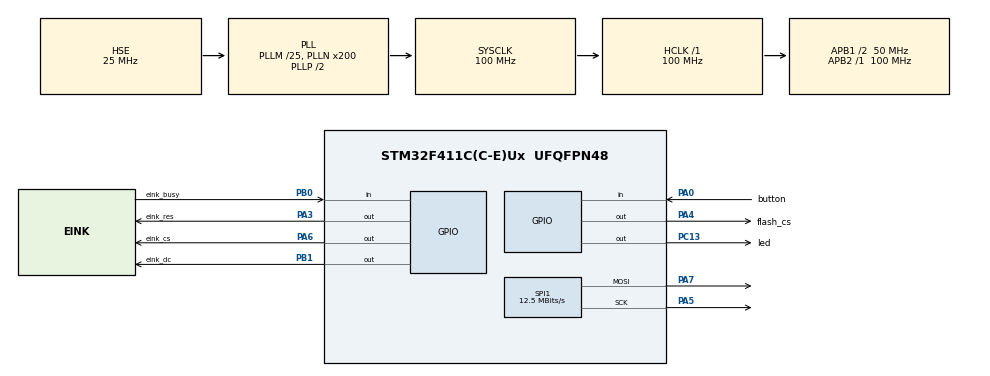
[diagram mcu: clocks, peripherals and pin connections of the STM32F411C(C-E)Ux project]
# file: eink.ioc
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Mcu.Family=STM32F4
Mcu.Name=STM32F411C(C-E)Ux
Mcu.Package=UFQFPN48
NVIC.PriorityGroup=NVIC_PRIORITYGROUP_4
PA0-WKUP.GPIO_Label=button
PA0-WKUP.Signal=GPIO_Input
PA13.Mode=Trace_Asynchronous_SW
PA13.Signal=SYS_JTMS-SWDIO
PA14.Mode=Trace_Asynchronous_SW
PA14.Signal=SYS_JTCK-SWCLK
PA3.GPIO_Label=eink_res
PA3.Signal=GPIO_Output
PA4.GPIO_Label=flash_cs
PA4.PinState=GPIO_PIN_SET
PA4.Signal=GPIO_Output
PA5.Mode=TX_Only_Simplex_Unidirect_Master
PA5.Signal=SPI1_SCK
PA6.GPIO_Label=eink_cs
PA6.PinState=GPIO_PIN_SET
PA6.Signal=GPIO_Output
PA7.Mode=TX_Only_Simplex_Unidirect_Master
PA7.Signal=SPI1_MOSI
PB0.GPIO_Label=eink_busy
PB0.Signal=GPIO_Input
PB1.GPIO_Label=eink_dc
PB1.Signal=GPIO_Output
PB3.Mode=Trace_Asynchronous_SW
PB3.Signal=SYS_JTDO-SWO
PC13-ANTI_TAMP.GPIO_Label=led
PC13-ANTI_TAMP.Signal=GPIO_Output
PH0\ -\ OSC_IN.Mode=HSE-External-Oscillator
PH0\ -\ OSC_IN.Signal=RCC_OSC_IN
PH1\ -\ OSC_OUT.Mode=HSE-External-Oscillator
PH1\ -\ OSC_OUT.Signal=RCC_OSC_OUT
ProjectManager.HeapSize=0x200
ProjectManager.StackSize=0x400
ProjectManager.TargetToolchain=STM32CubeIDE
RCC.48MHZClocksFreq_Value=50000000
RCC.AHBFreq_Value=100000000
RCC.APB1CLKDivider=RCC_HCLK_DIV2
RCC.APB1Freq_Value=50000000
RCC.APB1TimFreq_Value=100000000
RCC.APB2Freq_Value=100000000
RCC.APB2TimFreq_Value=100000000
RCC.CortexFreq_Value=100000000
RCC.HCLKFreq_Value=100000000
RCC.HSE_VALUE=25000000
RCC.HSI_VALUE=16000000
RCC.LSE_VALUE=32768
RCC.PLLM=25
RCC.PLLN=200
RCC.PLLSourceVirtual=RCC_PLLSOURCE_HSE
RCC.SYSCLKFreq_VALUE=100000000
RCC.SYSCLKSource=RCC_SYSCLKSOURCE_PLLCLK
RCC.VCOOutputFreq_Value=200000000
SPI1.BaudRatePrescaler=SPI_BAUDRATEPRESCALER_8
SPI1.CalculateBaudRate=12.5 MBits/s
SPI1.Direction=SPI_DIRECTION_2LINES
SPI1.Mode=SPI_MODE_MASTER
SPI1.VirtualType=VM_MASTER
board=custom

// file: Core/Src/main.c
/* USER CODE BEGIN Header */
/**
  ******************************************************************************
  * @file           : main.c
  * @brief          : Main program body
  ******************************************************************************
  * @attention
  *
  * Copyright (c) 2024 STMicroelectronics.
  * All rights reserved.
  *
  * This software is licensed under terms that can be found in the LICENSE file
  * in the root directory of this software component.
  * If no LICENSE file comes with this software, it is provided AS-IS.
  *
  ******************************************************************************
  */
/* USER CODE END Header */
#include "main.h"

/* USER CODE BEGIN Includes */
#include <stdio.h>
#include "epaper.h"
#include "bmp.h"
#include "epaper_wrap.h"
/* USER CODE END Includes */

SPI_HandleTypeDef hspi1;

/* USER CODE BEGIN PV */
uint8_t image_bw[EPD_W_BUFF_SIZE * EPD_H];

/* USER CODE END PV */

void SystemClock_Config(void);
static void MX_GPIO_Init(void);
static void MX_SPI1_Init(void);

int main(void)
{

  /* MCU Configuration--------------------------------------------------------*/

  /* Reset of all peripherals, Initializes the Flash interface and the Systick. */
  HAL_Init();

  /* Configure the system clock */
  SystemClock_Config();

  /* Initialize all configured peripherals */
  MX_GPIO_Init();
  MX_SPI1_Init();
  /* USER CODE BEGIN 2 */

  uint8_t text[20];
  uint8_t g_speed = 1;
  epd_io_init();

   epd_init();

 #ifdef EPD_BWR
 	#ifdef EPD_42
   epd_paint_newimage(image_bw, EPD_W, EPD_H, EPD_ROTATE_270, EPD_COLOR_WHITE);
   epd_paint_newimage(image_red, EPD_W, EPD_H, EPD_ROTATE_270, EPD_COLOR_WHITE);
 	#else
   epd_paint_newimage(image_bw, EPD_W, EPD_H, EPD_ROTATE_180, EPD_COLOR_WHITE);
   epd_paint_newimage(image_red, EPD_W, EPD_H, EPD_ROTATE_180, EPD_COLOR_WHITE);
 	#endif

   epd_paint_selectimage(image_bw);
   epd_paint_clear(EPD_COLOR_WHITE);

   epd_paint_selectimage(image_red);
   epd_paint_clear(EPD_COLOR_WHITE);

 	#ifdef EPD_42
 		epd_paint_showPicture((EPD_W - 250) / 2, (EPD_H - 122) / 2, 250, 122, gImage_4, EPD_COLOR_WHITE);
 		#else
 		epd_paint_showPicture((EPD_H - 250) / 2, (EPD_W - 122) / 2, 250, 122, gImage_4, EPD_COLOR_WHITE);
 	#endif

   epd_display(image_bw, image_red);
 	epd_enter_deepsleepmode(EPD_DEEPSLEEP_MODE1);

   delay_ms(8000);

   epd_init();

   epd_paint_selectimage(image_bw);
   epd_paint_clear(EPD_COLOR_WHITE);
 #ifdef EPD_213
   epd_paint_showString(10, 0, (uint8_t *)&"2.13 Epaper Module", EPD_FONT_SIZE24x12, EPD_COLOR_BLACK);
   epd_paint_showString(10, 50, (uint8_t *)&"with 250 x 122 resolution", EPD_FONT_SIZE16x8, EPD_COLOR_BLACK);
 #endif
 #ifdef EPD_29
 	epd_paint_showString(10, 0, (uint8_t *)&"2.9 Epaper Module", EPD_FONT_SIZE24x12, EPD_COLOR_BLACK);
 	epd_paint_showString(10, 50, (uint8_t *)&"with 296 x 128 resolution", EPD_FONT_SIZE16x8, EPD_COLOR_BLACK);
 #endif
 #ifdef EPD_42
 	epd_paint_showString(10, 0, (uint8_t *)&"4.2 Inch Epaper Module", EPD_FONT_SIZE24x12, EPD_COLOR_BLACK);
 	epd_paint_showString(10, 50, (uint8_t *)&"with 400 x 300 resolution", EPD_FONT_SIZE16x8, EPD_COLOR_BLACK);
 #endif
 	epd_paint_showString(10, 29, (uint8_t *)&"Designed By WeAct Studio", EPD_FONT_SIZE16x8, EPD_COLOR_BLACK);

   epd_paint_selectimage(image_red);
   epd_paint_clear(EPD_COLOR_WHITE);

   sprintf((char *)&text, ">> Hello World.");
   epd_paint_showString(10, 71, text, EPD_FONT_SIZE24x12, EPD_COLOR_RED);

 #if 1
     epd_paint_showString(10,100,(uint8_t *)&"AT32F403ACGU7 Example",EPD_FONT_SIZE16x8,EPD_COLOR_RED);
 #else
 	epd_paint_drawRectangle(10, 103, EPD_H - 10, 116, EPD_COLOR_RED, 1);
 #endif

   epd_display(image_bw, image_red);

 #else
 	#ifdef EPD_42
   epd_paint_newimage(image_bw, EPD_W, EPD_H, EPD_ROTATE_270, EPD_COLOR_WHITE);
 	#else
 	epd_paint_newimage(image_bw, EPD_W, EPD_H, EPD_ROTATE_180, EPD_COLOR_WHITE);
 	#endif

   epd_paint_selectimage(image_bw);

 	#ifdef EPD_154
   epd_paint_clear(EPD_COLOR_WHITE);
 	epd_paint_showPicture((EPD_H - 200) / 2,(EPD_W - 64) / 2,200,64,gImage_5,EPD_COLOR_WHITE);
 	#else
   epd_paint_clear(EPD_COLOR_WHITE);
 	#ifdef EPD_42
 		epd_paint_showPicture((EPD_W - 250) / 2, (EPD_H - 122) / 2, 250, 122, gImage_4, EPD_COLOR_WHITE);
 		#else
 		epd_paint_showPicture((EPD_H - 250) / 2, (EPD_W - 122) / 2, 250, 122, gImage_4, EPD_COLOR_WHITE);
 	#endif
 	#endif

   epd_displayBW(image_bw);
 	epd_enter_deepsleepmode(EPD_DEEPSLEEP_MODE1);

   delay_ms(5000);

 	epd_init_partial();

   epd_paint_selectimage(image_bw);
   epd_paint_clear(EPD_COLOR_WHITE);
 #ifdef EPD_154
   epd_paint_showString(10, 0, (uint8_t *)&"1.54 Inch", EPD_FONT_SIZE24x12, EPD_COLOR_BLACK);
 	epd_paint_showString(10, 23, (uint8_t *)&"Epaper Module", EPD_FONT_SIZE24x12, EPD_COLOR_BLACK);
 	epd_paint_showString(10, 48, (uint8_t *)&"Designed By WeAct Studio", EPD_FONT_SIZE12x6, EPD_COLOR_BLACK);
 	epd_paint_showString(10, 60, (uint8_t *)&"with 200 x 200 resolution", EPD_FONT_SIZE12x6, EPD_COLOR_BLACK);
 	epd_paint_showPicture((EPD_H - 200) / 2,130,200,64,gImage_5,EPD_COLOR_WHITE);
 #endif
 #ifdef EPD_213
   epd_paint_showString(10, 0, (uint8_t *)&"2.13 Epaper Module", EPD_FONT_SIZE24x12, EPD_COLOR_BLACK);
   epd_paint_showString(10, 50, (uint8_t *)&"with 250 x 122 resolution", EPD_FONT_SIZE16x8, EPD_COLOR_BLACK);
 	epd_paint_showString(10, 29, (uint8_t *)&"Designed By WeAct Studio", EPD_FONT_SIZE16x8, EPD_COLOR_BLACK);
 #endif
 #ifdef EPD_29
 	epd_paint_showString(10, 0, (uint8_t *)&"2.9 Epaper Module", EPD_FONT_SIZE24x12, EPD_COLOR_BLACK);
 	epd_paint_showString(10, 50, (uint8_t *)&"with 296 x 128 resolution", EPD_FONT_SIZE16x8, EPD_COLOR_BLACK);
 	epd_paint_showString(10, 29, (uint8_t *)&"Designed By WeAct Studio", EPD_FONT_SIZE16x8, EPD_COLOR_BLACK);
 #endif
 #ifdef EPD_42
 	epd_paint_showString(10, 0, (uint8_t *)&"4.2 Inch Epaper Module", EPD_FONT_SIZE24x12, EPD_COLOR_BLACK);
 	epd_paint_showString(10, 50, (uint8_t *)&"with 400 x 300 resolution", EPD_FONT_SIZE16x8, EPD_COLOR_BLACK);
 	epd_paint_showString(10, 29, (uint8_t *)&"Designed By WeAct Studio", EPD_FONT_SIZE16x8, EPD_COLOR_BLACK);
 #endif
 #if 1
     epd_paint_showString(10,100,(uint8_t *)&"AT32F403ACGU7 Example",EPD_FONT_SIZE16x8,EPD_COLOR_BLACK);
 #else
 	epd_paint_drawRectangle(10, EPD_W-20, EPD_H - 10, EPD_W-6, EPD_COLOR_BLACK, 1);
 #endif

 	sprintf((char *)&text, ">> Partial Mode");
 	epd_paint_showString(10, 71, text, EPD_FONT_SIZE24x12, EPD_COLOR_BLACK);

 	epd_displayBW_partial(image_bw);

 	delay_ms(1000);

 	for (uint32_t i = 123; i < 8 * 123; i += 123)
 	{
 		sprintf((char *)&text, ">> Num=%d     ", i);
 		epd_paint_showString(10, 71, text, EPD_FONT_SIZE24x12, EPD_COLOR_BLACK);

 		epd_displayBW_partial(image_bw);

 		delay_ms(100);
 	}

 	sprintf((char *)&text, ">> Hello World.");
 	epd_paint_showString(10, 71, text, EPD_FONT_SIZE24x12, EPD_COLOR_BLACK);
 	epd_displayBW_partial(image_bw);

 	delay_ms(1000);

 	epd_update();
 #endif

   epd_enter_deepsleepmode(EPD_DEEPSLEEP_MODE1);

   while (1)
   {
     led_toggle();
#define DELAY 100
     delay_ms(g_speed * DELAY);
   }

  /* USER CODE END 2 */

  /* Infinite loop */
  while (1)
  {

  }
}

void SystemClock_Config(void)
{
  RCC_OscInitTypeDef RCC_OscInitStruct = {0};
  RCC_ClkInitTypeDef RCC_ClkInitStruct = {0};

  /** Configure the main internal regulator output voltage
  */
  __HAL_RCC_PWR_CLK_ENABLE();
  __HAL_PWR_VOLTAGESCALING_CONFIG(PWR_REGULATOR_VOLTAGE_SCALE1);

  /** Initializes the RCC Oscillators according to the specified parameters
  * in the RCC_OscInitTypeDef structure.
  */
  RCC_OscInitStruct.OscillatorType = RCC_OSCILLATORTYPE_HSE;
  RCC_OscInitStruct.HSEState = RCC_HSE_ON;
  RCC_OscInitStruct.PLL.PLLState = RCC_PLL_ON;
  RCC_OscInitStruct.PLL.PLLSource = RCC_PLLSOURCE_HSE;
  RCC_OscInitStruct.PLL.PLLM = 25;
  RCC_OscInitStruct.PLL.PLLN = 200;
  RCC_OscInitStruct.PLL.PLLP = RCC_PLLP_DIV2;
  RCC_OscInitStruct.PLL.PLLQ = 4;
  if (HAL_RCC_OscConfig(&RCC_OscInitStruct) != HAL_OK)
  {
    Error_Handler();
  }

  /** Initializes the CPU, AHB and APB buses clocks
  */
  RCC_ClkInitStruct.ClockType = RCC_CLOCKTYPE_HCLK|RCC_CLOCKTYPE_SYSCLK
                              |RCC_CLOCKTYPE_PCLK1|RCC_CLOCKTYPE_PCLK2;
  RCC_ClkInitStruct.SYSCLKSource = RCC_SYSCLKSOURCE_PLLCLK;
  RCC_ClkInitStruct.AHBCLKDivider = RCC_SYSCLK_DIV1;
  RCC_ClkInitStruct.APB1CLKDivider = RCC_HCLK_DIV2;
  RCC_ClkInitStruct.APB2CLKDivider = RCC_HCLK_DIV1;

  if (HAL_RCC_ClockConfig(&RCC_ClkInitStruct, FLASH_LATENCY_3) != HAL_OK)
  {
    Error_Handler();
  }
}

static void MX_SPI1_Init(void)
{

  /* SPI1 parameter configuration*/
  hspi1.Instance = SPI1;
  hspi1.Init.Mode = SPI_MODE_MASTER;
  hspi1.Init.Direction = SPI_DIRECTION_2LINES;
  hspi1.Init.DataSize = SPI_DATASIZE_8BIT;
  hspi1.Init.CLKPolarity = SPI_POLARITY_LOW;
  hspi1.Init.CLKPhase = SPI_PHASE_1EDGE;
  hspi1.Init.NSS = SPI_NSS_SOFT;
  hspi1.Init.BaudRatePrescaler = SPI_BAUDRATEPRESCALER_8;
  hspi1.Init.FirstBit = SPI_FIRSTBIT_MSB;
  hspi1.Init.TIMode = SPI_TIMODE_DISABLE;
  hspi1.Init.CRCCalculation = SPI_CRCCALCULATION_DISABLE;
  hspi1.Init.CRCPolynomial = 10;
  if (HAL_SPI_Init(&hspi1) != HAL_OK)
  {
    Error_Handler();
  }

}

static void MX_GPIO_Init(void)
{
  GPIO_InitTypeDef GPIO_InitStruct = {0};

  /* GPIO Ports Clock Enable */
  __HAL_RCC_GPIOC_CLK_ENABLE();
  __HAL_RCC_GPIOH_CLK_ENABLE();
  __HAL_RCC_GPIOA_CLK_ENABLE();
  __HAL_RCC_GPIOB_CLK_ENABLE();

  /*Configure GPIO pin Output Level */
  HAL_GPIO_WritePin(led_GPIO_Port, led_Pin, GPIO_PIN_RESET);

  /*Configure GPIO pin Output Level */
  HAL_GPIO_WritePin(eink_res_GPIO_Port, eink_res_Pin, GPIO_PIN_RESET);

  /*Configure GPIO pin Output Level */
  HAL_GPIO_WritePin(GPIOA, flash_cs_Pin|eink_cs_Pin, GPIO_PIN_SET);

  /*Configure GPIO pin Output Level */
  HAL_GPIO_WritePin(eink_dc_GPIO_Port, eink_dc_Pin, GPIO_PIN_RESET);

  /*Configure GPIO pin : led_Pin */
  GPIO_InitStruct.Pin = led_Pin;
  GPIO_InitStruct.Mode = GPIO_MODE_OUTPUT_PP;
  GPIO_InitStruct.Pull = GPIO_NOPULL;
  GPIO_InitStruct.Speed = GPIO_SPEED_FREQ_LOW;
  HAL_GPIO_Init(led_GPIO_Port, &GPIO_InitStruct);

  /*Configure GPIO pin : button_Pin */
  GPIO_InitStruct.Pin = button_Pin;
  GPIO_InitStruct.Mode = GPIO_MODE_INPUT;
  GPIO_InitStruct.Pull = GPIO_NOPULL;
  HAL_GPIO_Init(button_GPIO_Port, &GPIO_InitStruct);

  /*Configure GPIO pins : eink_res_Pin flash_cs_Pin eink_cs_Pin */
  GPIO_InitStruct.Pin = eink_res_Pin|flash_cs_Pin|eink_cs_Pin;
  GPIO_InitStruct.Mode = GPIO_MODE_OUTPUT_PP;
  GPIO_InitStruct.Pull = GPIO_NOPULL;
  GPIO_InitStruct.Speed = GPIO_SPEED_FREQ_LOW;
  HAL_GPIO_Init(GPIOA, &GPIO_InitStruct);

  /*Configure GPIO pin : eink_busy_Pin */
  GPIO_InitStruct.Pin = eink_busy_Pin;
  GPIO_InitStruct.Mode = GPIO_MODE_INPUT;
  GPIO_InitStruct.Pull = GPIO_NOPULL;
  HAL_GPIO_Init(eink_busy_GPIO_Port, &GPIO_InitStruct);

  /*Configure GPIO pin : eink_dc_Pin */
  GPIO_InitStruct.Pin = eink_dc_Pin;
  GPIO_InitStruct.Mode = GPIO_MODE_OUTPUT_PP;
  GPIO_InitStruct.Pull = GPIO_NOPULL;
  GPIO_InitStruct.Speed = GPIO_SPEED_FREQ_LOW;
  HAL_GPIO_Init(eink_dc_GPIO_Port, &GPIO_InitStruct);

}

void Error_Handler(void)
{
  __disable_irq();
  while (1)
  {
  }
}
